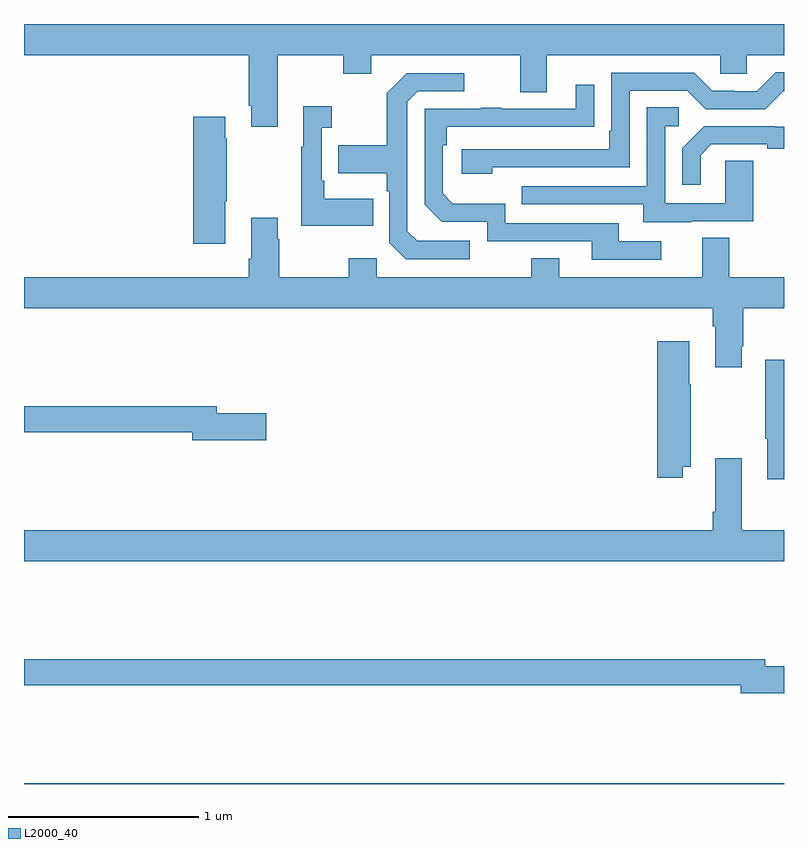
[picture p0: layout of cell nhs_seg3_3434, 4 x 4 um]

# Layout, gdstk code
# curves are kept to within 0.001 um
import gdstk
lib = gdstk.Library(unit=1e-6, precision=1e-09)
def R(c, l, rs):  # rectangles x0, y0, x1, y1
    for r in rs: c.add(gdstk.rectangle(r[:2], r[2:], *l))
def P(c, l, *ps):  # polygons
    for p in ps: c.add(gdstk.Polygon(p, *l))
L2000_40 = (2000, 40)

nhs_seg3_3434 = lib.new_cell('nhs_seg3_3434')
R(nhs_seg3_3434, L2000_40, [(289,710.4,293,710.404)])
P(nhs_seg3_3434, L2000_40, [(290.335,714.236),(290.68,714.236),(290.68,714.137),(290.827,714.137),(290.827,714.236),(291.611,714.236),(291.611,714.042),(291.751,714.042),(291.751,714.236),(292.665,714.236),(292.665,714.138),(292.803,714.138),(292.803,714.236),(293,714.236),(293,714.4),(289,714.4),(289,714.236),(290.183,714.236),(290.183,713.971),(290.195,713.971),(290.195,713.859),(290.335,713.859)],
  [(291.464,713.646),(292.188,713.646),(292.188,714.048),(292.491,714.048),(292.587,713.952),(292.902,713.952),(292.995,714.045),(293,714.045),(293,714.145),(292.957,714.145),(292.857,714.045),(292.742,714.045),(292.742,714.048),(292.623,714.048),(292.527,714.144),(292.092,714.144),(292.092,713.839),(292.079,713.839),(292.079,713.742),(291.303,713.742),(291.303,713.612),(291.464,713.612)],
  [(291.346,713.259),(291.069,713.259),(291.018,713.31),(291.018,713.991),(291.072,714.045),(291.316,714.045),(291.316,714.141),(291.015,714.141),(290.91,714.035),(290.91,713.763),(290.653,713.763),(290.653,713.615),(290.91,713.615),(290.91,713.519),(290.922,713.519),(290.922,713.25),(291.009,713.163),(291.346,713.163)],
  [(292.354,713.256),(292.129,713.256),(292.129,713.352),(291.534,713.352),(291.534,713.455),(291.257,713.455),(291.204,713.508),(291.204,713.762),(291.224,713.762),(291.224,713.859),(292.001,713.86),(292.001,714.079),(291.905,714.079),(291.905,713.955),(291.515,713.955),(291.515,713.96),(291.403,713.96),(291.403,713.955),(291.108,713.955),(291.108,713.448),(291.198,713.358),(291.438,713.358),(291.438,713.256),(291.989,713.256),(291.989,713.16),(292.354,713.16)],
  [(290.837,713.479),(290.581,713.479),(290.581,713.575),(290.568,713.575),(290.568,713.855),(290.62,713.855),(290.62,713.968),(290.471,713.968),(290.471,713.755),(290.46,713.755),(290.46,713.339),(290.837,713.339)],
  [(292.513,713.361),(292.837,713.361),(292.837,713.681),(292.692,713.681),(292.692,713.457),(292.374,713.457),(292.374,713.862),(292.447,713.862),(292.447,713.963),(292.278,713.963),(292.278,713.547),(291.619,713.547),(291.619,713.451),(292.259,713.451),(292.259,713.357),(292.513,713.357)],
  [(290.059,713.467),(290.067,713.467),(290.067,713.798),(290.059,713.798),(290.059,713.911),(289.892,713.911),(289.892,713.244),(290.059,713.244)],
  [(292.561,713.709),(292.618,713.766),(292.913,713.766),(292.913,713.744),(293,713.744),(293,713.859),(292.952,713.859),(292.952,713.862),(292.58,713.862),(292.464,713.746),(292.464,713.553),(292.561,713.553)],
  [(292.777,712.705),(292.785,712.705),(292.785,712.904),(293,712.904),(293,713.068),(292.711,713.068),(292.711,713.276),(292.571,713.276),(292.571,713.068),(291.817,713.068),(291.817,713.167),(291.67,713.167),(291.67,713.068),(290.856,713.068),(290.856,713.167),(290.71,713.167),(290.71,713.068),(290.343,713.068),(290.343,713.267),(290.335,713.267),(290.335,713.38),(290.195,713.38),(290.195,713.164),(290.183,713.164),(290.183,713.068),(289,713.068),(289,712.904),(292.625,712.904),(292.625,712.808),(292.637,712.808),(292.637,712.593),(292.777,712.593)],
  [(292.468,712.07),(292.509,712.07),(292.509,712.505),(292.501,712.505),(292.501,712.729),(292.334,712.729),(292.334,712.011),(292.468,712.011)],
  [(293,712.633),(292.902,712.633),(292.902,712.217),(292.913,712.217),(292.913,712.005),(293,712.005)],
  [(290.275,712.352),(290.014,712.352),(290.014,712.388),(289,712.388),(289,712.252),(289.886,712.252),(289.886,712.21),(290.275,712.21)],
  [(292.637,712.114),(292.637,711.832),(292.625,711.832),(292.625,711.736),(289,711.736),(289,711.572),(293,711.572),(293,711.736),(292.777,711.736),(292.777,712.114)],
  [(293,711.02),(292.9,711.02),(292.9,711.056),(289,711.056),(289,710.92),(292.772,710.92),(292.772,710.878),(293,710.878)])

lib.write_gds('nhs_seg3_3434.gds')
